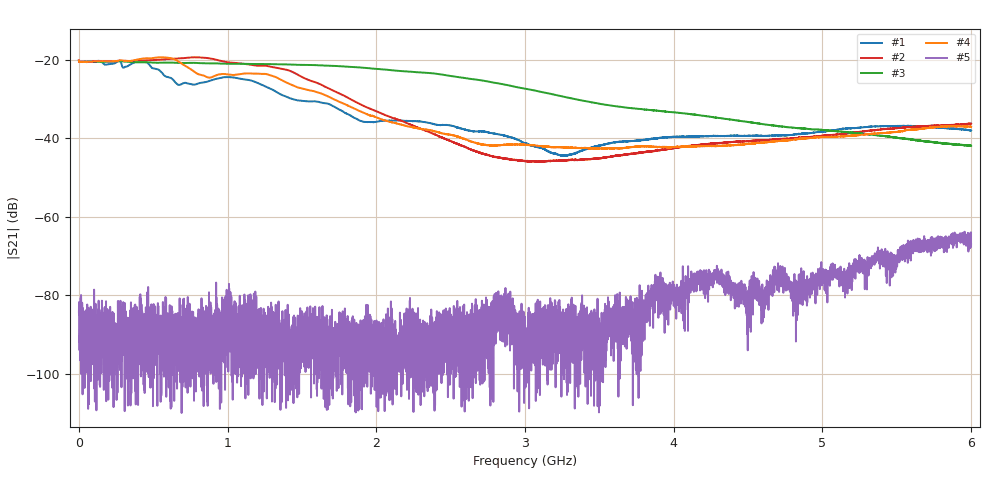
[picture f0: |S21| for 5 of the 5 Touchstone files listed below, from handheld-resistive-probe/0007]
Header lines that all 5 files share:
! Ref Plane: 0.000 mm
# MHZ S MA R  50
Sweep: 300 kHz to 6 GHz
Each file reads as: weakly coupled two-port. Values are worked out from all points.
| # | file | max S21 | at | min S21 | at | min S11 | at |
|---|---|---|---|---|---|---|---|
| 1 | flexground.s2p | -20.05 dB | 273.3 MHz | -44.4 dB | 3.249 GHz | -26.3 dB | 900 kHz |
| 2 | leafground.s2p | -19.28 dB | 770.7 MHz | -46.0 dB | 3.091 GHz | -26.3 dB | 900 kHz |
| 3 | tipground.s2p | -20.10 dB | 300 kHz | -41.9 dB | 5.994 GHz | -26.5 dB | 300 kHz |
| 4 | zground.s2p | -19.27 dB | 563.1 MHz | -42.6 dB | 3.517 GHz | -26.3 dB | 900 kHz |
| 5 | zin.s2p | -63.79 dB | 5.957 GHz | -110.1 dB | 690.9 MHz | -5.4 dB | 2.787 GHz |
